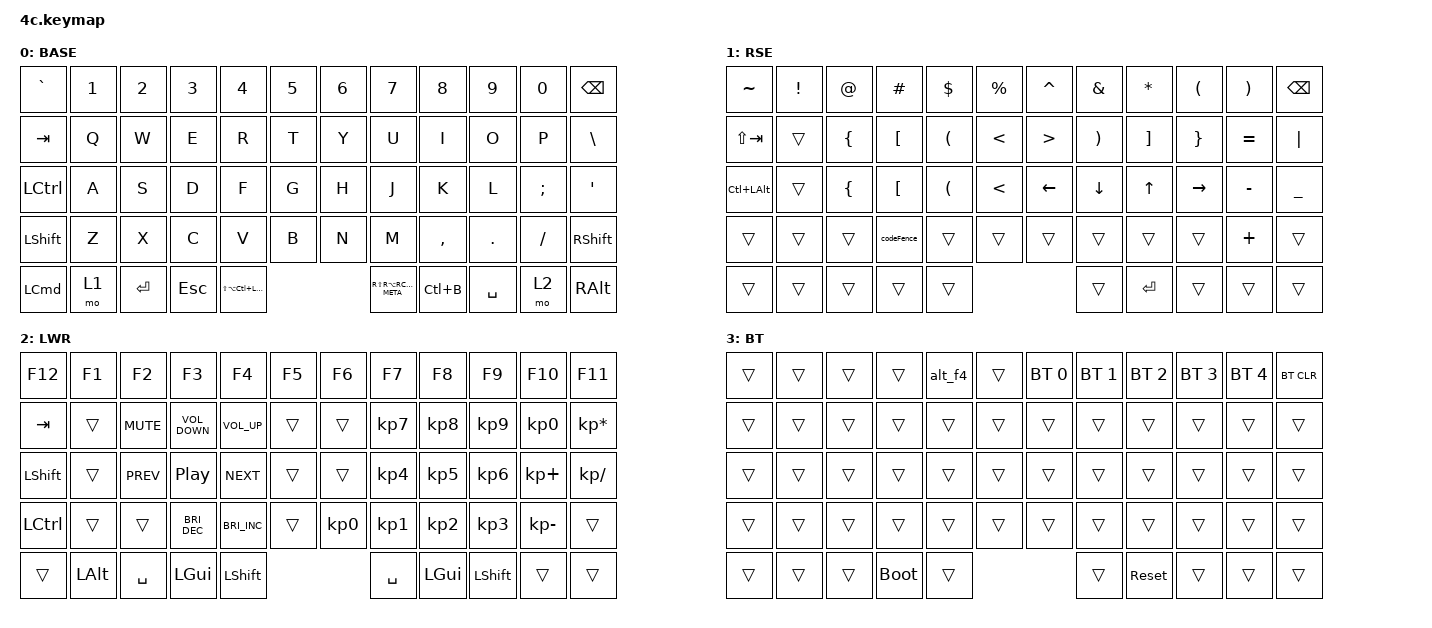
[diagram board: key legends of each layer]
/*
 * Copyright (c) 2020 The ZMK Contributors
 *
 * SPDX-License-Identifier: MIT
 */
/* THIS FILE WAS GENERATED!
 *
 * This file was generated automatically. You may or may not want to
 * edit it directly.
 */

#include <behaviors.dtsi>
#include <dt-bindings/zmk/bt.h>
#include <dt-bindings/zmk/keys.h>

/ {
    combos {
        compatible = "zmk,combos";

        btMo {
            bindings = <&mo 3>;
            key-positions = <56 57>;
        };
    };

    macros {
        codeFence: codeFence {
            compatible = "zmk,behavior-macro";
            label = "new_macro";
            #binding-cells = <0>;
            bindings =
                <&kp GRAVE &kp GRAVE &kp GRAVE &kp RET &kp RET &kp GRAVE &kp GRAVE &kp GRAVE &kp UP>,
                <&macro_press>;
        };
        alt_f4: alt_f4 {
            compatible = "zmk,behavior-macro";
            label = "ALT_F4";
            #binding-cells = <0>;
            bindings = <&kp LALT &kp F4>;
        };
    };

    keymap {
        compatible = "zmk,keymap";

        BASE {
            bindings = <
&kp GRAVE         &kp NUMBER_1  &kp NUMBER_2  &kp NUMBER_3  &kp NUMBER_4              &kp NUMBER_5    &kp NUMBER_6  &kp NUMBER_7                &kp NUMBER_8  &kp NUMBER_9  &kp NUMBER_0  &kp BACKSPACE
&kp TAB           &kp Q         &kp W         &kp E         &kp R                     &kp T           &kp Y         &kp U                       &kp I         &kp O         &kp P         &kp BACKSLASH
&kp LCTRL         &kp A         &kp S         &kp D         &kp F                     &kp G           &kp H         &kp J                       &kp K         &kp L         &kp SEMI      &kp APOS
&kp LEFT_SHIFT    &kp Z         &kp X         &kp C         &kp V                     &kp B           &kp N         &kp M                       &kp COMMA     &kp PERIOD    &kp SLASH     &kp RIGHT_SHIFT
&kp LEFT_COMMAND  &mo 1         &kp ENTER     &kp ESCAPE    &kp LS(LA(LC(LEFT_GUI)))                                &kp RS(RA(RC(RIGHT_META)))  &kp LC(B)     &kp SPACE     &mo 2         &kp RIGHT_ALT
            >;
        };

        RSE {
            bindings = <
&kp TILDE         &kp EXCL  &kp AT_SIGN     &kp HASH          &kp DOLLAR            &kp PERCENT      &kp CARET         &kp AMPERSAND          &kp ASTERISK       &kp LEFT_PARENTHESIS  &kp RIGHT_PARENTHESIS  &kp BACKSPACE
&kp LS(TAB)       &trans    &kp LEFT_BRACE  &kp LEFT_BRACKET  &kp LEFT_PARENTHESIS  &kp LESS_THAN    &kp GREATER_THAN  &kp RIGHT_PARENTHESIS  &kp RIGHT_BRACKET  &kp RIGHT_BRACE       &kp EQUAL              &kp PIPE
&kp LC(LEFT_ALT)  &trans    &kp LEFT_BRACE  &kp LEFT_BRACKET  &kp LEFT_PARENTHESIS  &kp LESS_THAN    &kp LEFT          &kp DOWN_ARROW         &kp UP_ARROW       &kp RIGHT_ARROW       &kp MINUS              &kp UNDERSCORE
&trans            &trans    &trans          &codeFence        &trans                &trans           &trans            &trans                 &trans             &trans                &kp PLUS               &trans
&trans            &trans    &trans          &trans            &trans                                                   &trans                 &kp RETURN         &trans                &trans                 &trans
            >;
        };

        LWR {
            bindings = <
&kp F12         &kp F1        &kp F2      &kp F3                &kp F4                &kp F5    &kp F6           &kp F7           &kp F8           &kp F9           &kp F10          &kp F11
&kp TAB         &trans        &kp K_MUTE  &kp C_VOLUME_DOWN     &kp C_VOLUME_UP       &trans    &trans           &kp KP_NUMBER_7  &kp KP_NUMBER_8  &kp KP_NUMBER_9  &kp KP_NUMBER_0  &kp KP_MULTIPLY
&kp LEFT_SHIFT  &trans        &kp C_PREV  &kp C_PLAY_PAUSE      &kp C_NEXT            &trans    &trans           &kp KP_N4        &kp KP_N5        &kp KP_N6        &kp KP_PLUS      &kp KP_DIVIDE
&kp LCTRL       &trans        &trans      &kp C_BRIGHTNESS_DEC  &kp C_BRIGHTNESS_INC  &trans    &kp KP_NUMBER_0  &kp KP_NUMBER_1  &kp KP_N2        &kp KP_N3        &kp KP_MINUS     &trans
&trans          &kp LEFT_ALT  &kp SPACE   &kp LEFT_GUI          &kp LEFT_SHIFT                                   &kp SPACE        &kp LEFT_GUI     &kp LEFT_SHIFT   &trans           &trans
            >;
        };

        BT {
            bindings = <
&trans  &trans  &trans  &trans       &alt_f4  &trans    &bt BT_SEL 0  &bt BT_SEL 1  &bt BT_SEL 2  &bt BT_SEL 3  &bt BT_SEL 4  &bt BT_CLR
&trans  &trans  &trans  &trans       &trans   &trans    &trans        &trans        &trans        &trans        &trans        &trans
&trans  &trans  &trans  &trans       &trans   &trans    &trans        &trans        &trans        &trans        &trans        &trans
&trans  &trans  &trans  &trans       &trans   &trans    &trans        &trans        &trans        &trans        &trans        &trans
&trans  &trans  &trans  &bootloader  &trans                           &trans        &sys_reset    &trans        &trans        &trans
            >;
        };
    };
};
